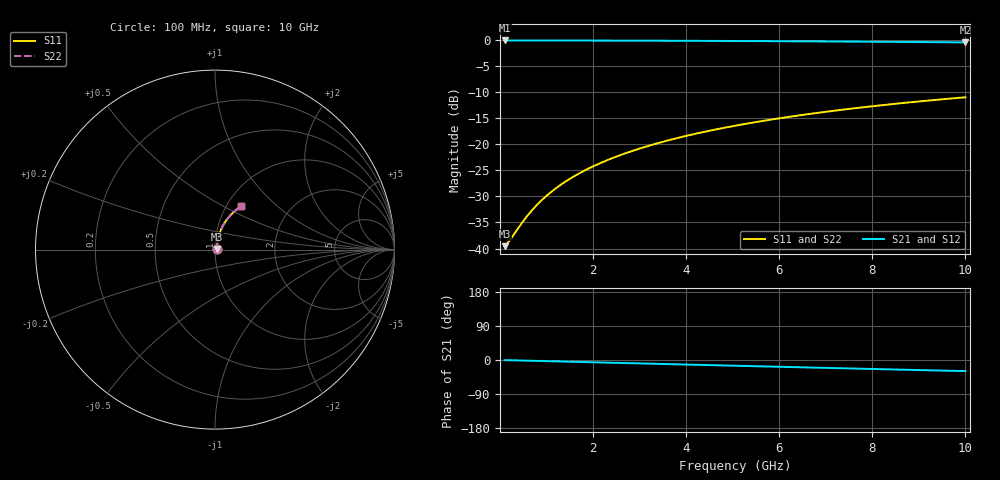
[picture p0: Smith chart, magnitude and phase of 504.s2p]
# Hz S RI R 50.00
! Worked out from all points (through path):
!   100 points, 100 MHz to 10 GHz, reference 50 ohm
!   highest |S21| = -0.09 dB at 100 MHz (marker M1); lowest = -0.5 dB at 10 GHz (marker M2)
!   group delay of S21, straight-line fit = 8.16 ps
!   lowest |S11| = -39.5 dB at 100 MHz (marker M3), VSWR 1.02, Z = 51 + j0.304 ohm
!   |S11| at or under -10 dB: start of sweep to end of sweep
!   |S22| runs from -39.5 to -11.0 dB; largest |S21 - S12| = 0
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1e8  0.0101 0.00298  0.9899 -0.0052  0.9899 -0.0052  0.0101 0.00298
2e8  0.0102 0.00595  0.9898 -0.0104  0.9898 -0.0104  0.0102 0.00595
5e8  0.0107 0.0149  0.9893 -0.026  0.9893 -0.026  0.0107 0.0149
6e8  0.0109 0.0178  0.989 -0.0312  0.989 -0.0312  0.0109 0.0178
7e8  0.0111 0.0208  0.9888 -0.0364  0.9888 -0.0364  0.0111 0.0208
9e8  0.0116 0.0267  0.9881 -0.0468  0.9881 -0.0468  0.0116 0.0267
1.1e9  0.0123 0.0326  0.9874 -0.0571  0.9874 -0.0571  0.0123 0.0326
1.3e9  0.0131 0.0385  0.9865 -0.0675  0.9865 -0.0675  0.0131 0.0385
1.5e9  0.014 0.0444  0.9854 -0.0778  0.9854 -0.0778  0.014 0.0444
1.8e9  0.0156 0.0532  0.9836 -0.0933  0.9836 -0.0933  0.0156 0.0532
2.1e9  0.0174 0.0619  0.9814 -0.1086  0.9814 -0.1086  0.0174 0.0619
2.5e9  0.0203 0.0733  0.9781 -0.129  0.9781 -0.129  0.0203 0.0733
2.9e9  0.0237 0.0847  0.9742 -0.1493  0.9742 -0.1493  0.0237 0.0847
3.4e9  0.0285 0.0986  0.9685 -0.1744  0.9685 -0.1744  0.0285 0.0986
3.8e9  0.0329 0.1095  0.9634 -0.1942  0.9634 -0.1942  0.0329 0.1095
4.2e9  0.0377 0.1202  0.9578 -0.2138  0.9578 -0.2138  0.0377 0.1202
5.1e9  0.0501 0.1434  0.9433 -0.2571  0.9433 -0.2571  0.0501 0.1434
5.9e9  0.0627 0.1628  0.9284 -0.2944  0.9284 -0.2944  0.0627 0.1628
6.7e9  0.0768 0.181  0.9118 -0.3305  0.9118 -0.3305  0.0768 0.181
7.5e9  0.0922 0.1978  0.8935 -0.3653  0.8935 -0.3653  0.0922 0.1978
8.4e9  0.1109 0.215  0.8711 -0.4028  0.8711 -0.4028  0.1109 0.215
1e10  0.147 0.2408  0.8273 -0.4647  0.8273 -0.4647  0.147 0.2408
